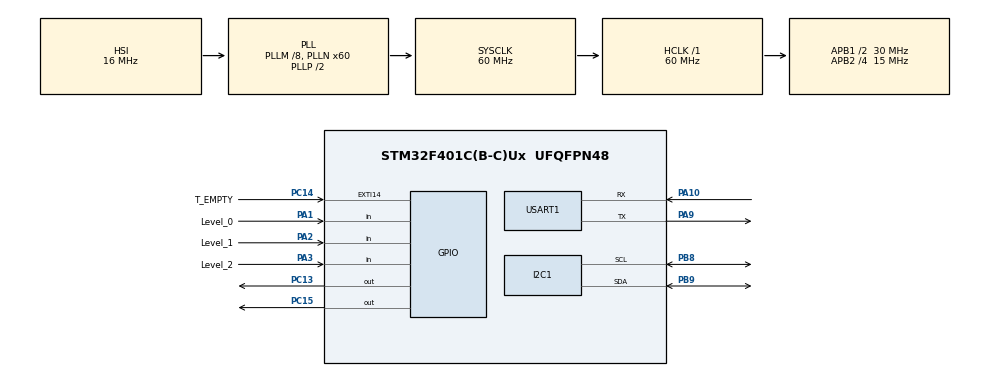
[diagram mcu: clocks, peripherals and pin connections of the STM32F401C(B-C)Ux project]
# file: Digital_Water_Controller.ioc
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Dma.Request0=USART1_RX
Dma.Request1=USART1_TX
Dma.USART1_RX.0.Direction=DMA_PERIPH_TO_MEMORY
Dma.USART1_RX.0.FIFOMode=DMA_FIFOMODE_DISABLE
Dma.USART1_RX.0.Instance=DMA2_Stream2
Dma.USART1_RX.0.MemDataAlignment=DMA_MDATAALIGN_BYTE
Dma.USART1_RX.0.MemInc=DMA_MINC_ENABLE
Dma.USART1_RX.0.Mode=DMA_CIRCULAR
Dma.USART1_RX.0.PeriphDataAlignment=DMA_PDATAALIGN_BYTE
Dma.USART1_RX.0.PeriphInc=DMA_PINC_DISABLE
Dma.USART1_RX.0.Priority=DMA_PRIORITY_LOW
Dma.USART1_TX.1.Direction=DMA_MEMORY_TO_PERIPH
Dma.USART1_TX.1.FIFOMode=DMA_FIFOMODE_DISABLE
Dma.USART1_TX.1.Instance=DMA2_Stream7
Dma.USART1_TX.1.MemDataAlignment=DMA_MDATAALIGN_BYTE
Dma.USART1_TX.1.MemInc=DMA_MINC_ENABLE
Dma.USART1_TX.1.Mode=DMA_NORMAL
Dma.USART1_TX.1.PeriphDataAlignment=DMA_PDATAALIGN_BYTE
Dma.USART1_TX.1.PeriphInc=DMA_PINC_DISABLE
Dma.USART1_TX.1.Priority=DMA_PRIORITY_LOW
I2C1.I2C_Mode=I2C_Fast
Mcu.Family=STM32F4
Mcu.Name=STM32F401C(B-C)Ux
Mcu.Package=UFQFPN48
NVIC.DMA2_Stream2_IRQn=true\:3\:0\:true\:false\:true\:false\:true\:true
NVIC.DMA2_Stream7_IRQn=true\:3\:0\:true\:false\:true\:false\:true\:true
NVIC.EXTI15_10_IRQn=true\:0\:0\:false\:false\:true\:true\:true\:true
NVIC.I2C1_ER_IRQn=true\:5\:0\:true\:false\:true\:true\:true\:true
NVIC.I2C1_EV_IRQn=true\:5\:0\:true\:false\:true\:true\:true\:true
NVIC.PriorityGroup=NVIC_PRIORITYGROUP_4
NVIC.TIM1_UP_TIM10_IRQn=true\:1\:0\:true\:false\:true\:true\:true\:true
NVIC.USART1_IRQn=true\:4\:0\:true\:false\:true\:true\:true\:true
PA1.GPIO_Label=Level_0
PA1.GPIO_PuPd=GPIO_PULLDOWN
PA1.Signal=GPIO_Input
PA10.Mode=Asynchronous
PA10.Signal=USART1_RX
PA13.Mode=Serial_Wire
PA13.Signal=SYS_JTMS-SWDIO
PA14.Mode=Serial_Wire
PA14.Signal=SYS_JTCK-SWCLK
PA2.GPIO_Label=Level_1
PA2.GPIO_PuPd=GPIO_PULLDOWN
PA2.Signal=GPIO_Input
PA3.GPIO_Label=Level_2
PA3.GPIO_PuPd=GPIO_PULLDOWN
PA3.Signal=GPIO_Input
PA9.Mode=Asynchronous
PA9.Signal=USART1_TX
PB8.Mode=I2C
PB8.Signal=I2C1_SCL
PB9.Mode=I2C
PB9.Signal=I2C1_SDA
PC13-ANTI_TAMP.Signal=GPIO_Output
PC14-OSC32_IN.GPIO_Label=T_EMPTY
PC14-OSC32_IN.GPIO_ModeDefaultEXTI=GPIO_MODE_IT_RISING
PC14-OSC32_IN.GPIO_PuPd=GPIO_PULLUP
PC14-OSC32_IN.Signal=GPXTI14
PC15-OSC32_OUT.Signal=GPIO_Output
ProjectManager.HeapSize=0x200
ProjectManager.StackSize=0x400
ProjectManager.TargetToolchain=STM32CubeIDE
RCC.48MHZClocksFreq_Value=30000000
RCC.AHBFreq_Value=60000000
RCC.APB1CLKDivider=RCC_HCLK_DIV2
RCC.APB1Freq_Value=30000000
RCC.APB1TimFreq_Value=60000000
RCC.APB2CLKDivider=RCC_HCLK_DIV4
RCC.APB2Freq_Value=15000000
RCC.APB2TimFreq_Value=30000000
RCC.CortexFreq_Value=60000000
RCC.HCLKFreq_Value=60000000
RCC.HSE_VALUE=25000000
RCC.HSI_VALUE=16000000
RCC.LSE_VALUE=32768
RCC.PLLM=8
RCC.PLLN=60
RCC.SYSCLKFreq_VALUE=60000000
RCC.SYSCLKSource=RCC_SYSCLKSOURCE_PLLCLK
RCC.VCOOutputFreq_Value=120000000
RTC.Format=RTC_FORMAT_BIN
RTC.HourFormat=RTC_HOURFORMAT_12
RTC.Hours=5
RTC.Minutes=40
RTC.Seconds=6
TIM1.AutoReloadPreload=TIM_AUTORELOAD_PRELOAD_DISABLE
TIM1.ClockDivision=TIM_CLOCKDIVISION_DIV4
TIM1.Period=30000
TIM1.Prescaler=9
TIM1.RepetitionCounter=0
USART1.VirtualMode=VM_ASYNC
VP_RTC_VS_RTC_Activate.Mode=RTC_Enabled
VP_RTC_VS_RTC_WakeUp_intern.Mode=WakeUp
VP_TIM1_VS_ClockSourceINT.Mode=Internal
board=custom

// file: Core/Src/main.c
/* USER CODE BEGIN Header */
/**
  ******************************************************************************
  * @file           : main.c
  * @brief          : Main program body
  ******************************************************************************
  * @attention
  *
  * Copyright (c) 2023 STMicroelectronics.
  * All rights reserved.
  *
  * This software is licensed under terms that can be found in the LICENSE file
  * in the root directory of this software component.
  * If no LICENSE file comes with this software, it is provided AS-IS.
  *
  ******************************************************************************
  */
/* USER CODE END Header */
#include "main.h"
#include "dma.h"
#include "i2c.h"
#include "rtc.h"
#include "tim.h"
#include "usart.h"
#include "gpio.h"

/* USER CODE BEGIN Includes */
#include "stddef.h"
#include "string.h"
#include "ssd1306.h"
#include "test.h"
#include "bitmap.h"
#include "horse_anim.h"
#include "stdio.h"
#include "stdbool.h"
/* USER CODE END Includes */

/* USER CODE BEGIN PTD */

motor_opreration_callbk Tasks_states[4];
RTC_TimeTypeDef sTime;
RTC_DateTypeDef sDate;

/* USER CODE END PTD */

/* USER CODE BEGIN PD */
#define MOTOR_OFF	0b00000000
#define FULL	0b00000100
#define HALF	0b00000110
#define EMPTY	0b00000111

/* USER CODE END PD */

/* USER CODE BEGIN PV */
uint8_t message[16] = "Period Elapsed\n\r";
FlagStatus periodElapsed = RESET;
uint32_t count_timer=0;
uint32_t Systick_counter=0;

/* USER CODE END PV */

void SystemClock_Config(void);
/* USER CODE BEGIN PFP */
void User_TIMPeriodElapsedCallback(TIM_HandleTypeDef *htim);
void set_time();

void intToStringWithAlignment(char* str, int num, int width, int isRightAligned);
typedef void (*motor_opreration_callbk)(void);
void Tank_Empty_cllbk();
void Tank_Low_cllbk();
void Tank_Half_cllbk();
void Tank_full_cllbk();
void trigger_motor_oprations(uint8_t Water_Level);
void Register_Motor_oprtn_cllbk(uint8_t Task_function, motor_opreration_callbk Task_states);

/* USER CODE END PFP */

int main(void)
{
  /* USER CODE BEGIN 1 */

//	char Oled_msg_str[6]="0";
//	uint8_t Chng_Lvl_state =0x00;
	uint8_t tribit_lvl_read=0x00;

  /* USER CODE END 1 */

  /* MCU Configuration--------------------------------------------------------*/

  /* Reset of all peripherals, Initializes the Flash interface and the Systick. */
  HAL_Init();

  /* Configure the system clock */
  SystemClock_Config();

  /* Initialize all configured peripherals */
  MX_GPIO_Init();
  MX_DMA_Init();
  MX_I2C1_Init();
  MX_USART1_UART_Init();
  MX_RTC_Init();
  MX_TIM1_Init();
  /* USER CODE BEGIN 2 */
  HAL_TIM_RegisterCallback(&htim1, HAL_TIM_PERIOD_ELAPSED_CB_ID, User_TIMPeriodElapsedCallback);
  HAL_TIM_Base_Start_IT(&htim1);
  SSD1306_Init();
  HAL_RTC_Init(&hrtc);

  /* USER CODE END 2 */

  /* Infinite loop */
  /* USER CODE BEGIN WHILE */

  dip_startup();
  set_time();

  while (1)
  {
	  PutDT_Oled();
	  Register_Motor_oprtn_cllbk(MOTOR_OFF, Tank_full_cllbk);
	  Register_Motor_oprtn_cllbk(FULL, Tank_Half_cllbk);
	  Register_Motor_oprtn_cllbk(HALF, Tank_Low_cllbk);
	  Register_Motor_oprtn_cllbk(EMPTY, Tank_Empty_cllbk);
		tribit_lvl_read|=((HAL_GPIO_ReadPin(GPIOA,  Level_0_Pin)<<2)| (HAL_GPIO_ReadPin(GPIOA,  Level_1_Pin)<<1)| HAL_GPIO_ReadPin(GPIOA,  Level_2_Pin)<<0);
		trigger_motor_oprations(tribit_lvl_read);
		tribit_lvl_read=0x00;

    /* USER CODE END WHILE */

  }
}

void SystemClock_Config(void)
{
  RCC_OscInitTypeDef RCC_OscInitStruct = {0};
  RCC_ClkInitTypeDef RCC_ClkInitStruct = {0};

  /** Configure the main internal regulator output voltage
  */
  __HAL_RCC_PWR_CLK_ENABLE();
  __HAL_PWR_VOLTAGESCALING_CONFIG(PWR_REGULATOR_VOLTAGE_SCALE2);

  /** Initializes the RCC Oscillators according to the specified parameters
  * in the RCC_OscInitTypeDef structure.
  */
  RCC_OscInitStruct.OscillatorType = RCC_OSCILLATORTYPE_HSI|RCC_OSCILLATORTYPE_LSI;
  RCC_OscInitStruct.HSIState = RCC_HSI_ON;
  RCC_OscInitStruct.HSICalibrationValue = RCC_HSICALIBRATION_DEFAULT;
  RCC_OscInitStruct.LSIState = RCC_LSI_ON;
  RCC_OscInitStruct.PLL.PLLState = RCC_PLL_ON;
  RCC_OscInitStruct.PLL.PLLSource = RCC_PLLSOURCE_HSI;
  RCC_OscInitStruct.PLL.PLLM = 8;
  RCC_OscInitStruct.PLL.PLLN = 60;
  RCC_OscInitStruct.PLL.PLLP = RCC_PLLP_DIV2;
  RCC_OscInitStruct.PLL.PLLQ = 4;
  if (HAL_RCC_OscConfig(&RCC_OscInitStruct) != HAL_OK)
  {
    Error_Handler();
  }

  /** Initializes the CPU, AHB and APB buses clocks
  */
  RCC_ClkInitStruct.ClockType = RCC_CLOCKTYPE_HCLK|RCC_CLOCKTYPE_SYSCLK
                              |RCC_CLOCKTYPE_PCLK1|RCC_CLOCKTYPE_PCLK2;
  RCC_ClkInitStruct.SYSCLKSource = RCC_SYSCLKSOURCE_PLLCLK;
  RCC_ClkInitStruct.AHBCLKDivider = RCC_SYSCLK_DIV1;
  RCC_ClkInitStruct.APB1CLKDivider = RCC_HCLK_DIV2;
  RCC_ClkInitStruct.APB2CLKDivider = RCC_HCLK_DIV4;

  if (HAL_RCC_ClockConfig(&RCC_ClkInitStruct, FLASH_LATENCY_1) != HAL_OK)
  {
    Error_Handler();
  }
}

/* USER CODE BEGIN 4 */
/*******************User---Functions************************************************************/

void User_TIMPeriodElapsedCallback(TIM_HandleTypeDef *htim){

	//HAL_UART_Transmit_DMA(&huart1,(uint8_t*) Serial_tx, strlen(Serial_tx));
	HAL_GPIO_TogglePin(GPIOC, GPIO_PIN_13);

}

void HAL_GPIO_EXTI_Callback(uint16_t GPIO_Pin){
	//HAL_GPIO_TogglePin(GPIOC, GPIO_PIN_15);
	NVIC_SystemReset();
}

// 4 callbacks  so array to register callbacks

void Register_Motor_oprtn_cllbk(uint8_t Task_function, motor_opreration_callbk callback){

		Tasks_states[Task_function]=callback;

}

void trigger_motor_oprations(uint8_t Water_Level){
	if(Water_Level == MOTOR_OFF){
	Tasks_states[MOTOR_OFF]();
	}
	if(Water_Level == FULL){
	Tasks_states[FULL]();
	}
	if(Water_Level == HALF){
	Tasks_states[HALF]();
	}
	if(Water_Level == EMPTY){
	Tasks_states[EMPTY]();
	}

}

void Tank_full_cllbk(){
	//Motor OFF
	//show Full
	HAL_GPIO_WritePin(GPIOC, GPIO_PIN_15, false);
}
void Tank_Half_cllbk(){
	// Show Half
}

void Tank_Low_cllbk(){
	//Show Low
}
void Tank_Empty_cllbk(){
	//Motor ON
	//show Empty
	HAL_GPIO_WritePin(GPIOC, GPIO_PIN_15, true);
}

void set_time (){

  sTime.Hours = 0x7; // set hours
  sTime.Minutes = 0x00; // set minutes
  sTime.Seconds = 0x00; // set seconds
  sTime.DayLightSaving = RTC_DAYLIGHTSAVING_NONE;
  sTime.StoreOperation = RTC_STOREOPERATION_RESET;
  if (HAL_RTC_SetTime(&hrtc, &sTime, RTC_FORMAT_BCD) != HAL_OK)
  {
    Error_Handler();
  }
  sDate.WeekDay = RTC_MONTH_DECEMBER; //  day
  sDate.Month = 0x12; //   month
  sDate.Date = 0x25; // date
  sDate.Year = 0x23; // year
  if (HAL_RTC_SetDate(&hrtc, &sDate, RTC_FORMAT_BCD) != HAL_OK)
  {
    Error_Handler();
  }
  HAL_RTCEx_BKUPWrite(&hrtc, RTC_BKP_DR1, 0x32F2); // backup register
}

uint8_t binaryToBCD(uint8_t binary) {
    return ((binary / 10) << 4) | (binary % 10);
}
/********************-Extra Codes****************************
void auxilary_function(){
	//char Level_bit_str[3]="0";
	//int *Level_ptr=(int*)&Level_stat;
	//	int  Level_stat[3]={0,0,0};
	//		*Level_ptr=HAL_GPIO_ReadPin(GPIOA,  Level_0_Pin);
	//		*(Level_ptr+1)=HAL_GPIO_ReadPin(GPIOA,  Level_1_Pin);;
	//		*(Level_ptr+2)=HAL_GPIO_ReadPin(GPIOA,  Level_2_Pin);;
	//		intToStringWithAlignment( Level_bit_str,*Level_ptr, 1, 1);
	//		intToStringWithAlignment( &(*(Level_bit_str+1)), *(Level_ptr+1), 1, 1);
	//		intToStringWithAlignment( &(*(Level_bit_str+2)), *(Level_ptr+2), 1, 1);
	//		SSD1306_GotoXY (16,42);
	//		SSD1306_Puts(Level_bit_str, &Font_7x10, 1);
	//		SSD1306_UpdateScreen();
}

//		Chng_Lvl_state= MOTOR_OFF | tribit_lvl_read;
//		switch(Chng_Lvl_state){
//		case MOTOR_OFF:
//			//Turn On Higher critical task_1;
//			//Display Full-level
//			strcpy(Oled_msg_str, "Full ");
//
//			break;
//		case FULL:
//			//display MID-level
//			strcpy(Oled_msg_str, "Half");
//			break;
//		case HALF:
//			//display Low-level
//			strcpy(Oled_msg_str, "Low ");
//			break;
//		case EMPTY:
//			//Turn On Higher critical task_2;
//			strcpy(Oled_msg_str, "Empty");
//			break;
//		}
//
//		SSD1306_GotoXY (40,42);
//		SSD1306_Puts(Oled_msg_str, &Font_7x10, 1);
//		SSD1306_UpdateScreen();

**********************/

/* USER CODE END 4 */

void Error_Handler(void)
{
  __disable_irq();
  while (1)
  {
  }
}
